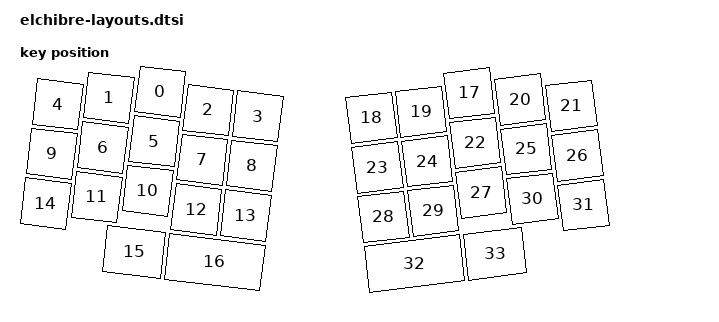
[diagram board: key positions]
#include <physical_layouts.dtsi>

/ {
    physical_layout0: physical_layout_0 {
        compatible = "zmk,physical-layout";
        display-name = "LAYOUT";

        kscan = <&kscan0>;
        transform = <&matrix_transform0>;

        keys  //                     w   h    x    y     rot    rx    ry
            = <&key_physical_attrs 100 100  200    0     700     0   300>
            , <&key_physical_attrs 100 100  100   25     700     0   300>
            , <&key_physical_attrs 100 100  300   25     700     0   300>
            , <&key_physical_attrs 100 100  400   25     700     0   300>
            , <&key_physical_attrs 100 100    0   50     700     0   300>
            , <&key_physical_attrs 100 100  200  100     700     0   300>
            , <&key_physical_attrs 100 100  100  125     700     0   300>
            , <&key_physical_attrs 100 100  300  125     700     0   300>
            , <&key_physical_attrs 100 100  400  125     700     0   300>
            , <&key_physical_attrs 100 100    0  150     700     0   300>
            , <&key_physical_attrs 100 100  200  200     700     0   300>
            , <&key_physical_attrs 100 100  100  225     700     0   300>
            , <&key_physical_attrs 100 100  300  225     700     0   300>
            , <&key_physical_attrs 100 100  400  225     700     0   300>
            , <&key_physical_attrs 100 100    0  250     700     0   300>
            , <&key_physical_attrs 125 100  175  325     700     0   300>
            , <&key_physical_attrs 200 100  300  325     700     0   300>
            , <&key_physical_attrs 100 100  875    0  (-700)  1200   300>
            , <&key_physical_attrs 100 100  675   25  (-700)  1200   300>
            , <&key_physical_attrs 100 100  775   25  (-700)  1200   300>
            , <&key_physical_attrs 100 100  975   25  (-700)  1200   300>
            , <&key_physical_attrs 100 100 1075   50  (-700)  1200   300>
            , <&key_physical_attrs 100 100  875  100  (-700)  1200   300>
            , <&key_physical_attrs 100 100  675  125  (-700)  1200   300>
            , <&key_physical_attrs 100 100  775  125  (-700)  1200   300>
            , <&key_physical_attrs 100 100  975  125  (-700)  1200   300>
            , <&key_physical_attrs 100 100 1075  150  (-700)  1200   300>
            , <&key_physical_attrs 100 100  875  200  (-700)  1200   300>
            , <&key_physical_attrs 100 100  675  225  (-700)  1200   300>
            , <&key_physical_attrs 100 100  775  225  (-700)  1200   300>
            , <&key_physical_attrs 100 100  975  225  (-700)  1200   300>
            , <&key_physical_attrs 100 100 1075  250  (-700)  1200   300>
            , <&key_physical_attrs 200 100  675  325  (-700)  1200   300>
            , <&key_physical_attrs 125 100  875  325  (-700)  1200   300>
            ;
    };
};
